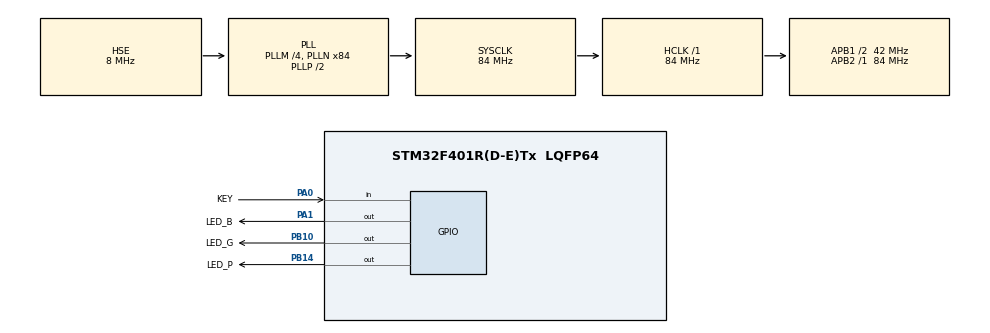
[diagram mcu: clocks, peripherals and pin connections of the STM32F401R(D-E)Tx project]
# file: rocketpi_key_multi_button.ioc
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Mcu.Family=STM32F4
Mcu.Name=STM32F401R(D-E)Tx
Mcu.Package=LQFP64
NVIC.PriorityGroup=NVIC_PRIORITYGROUP_4
PA0-WKUP.GPIO_Label=KEY
PA0-WKUP.Signal=GPIO_Input
PA1.GPIO_Label=LED_B
PA1.PinState=GPIO_PIN_SET
PA1.Signal=GPIO_Output
PA13.GPIO_Label=TMS
PA13.Mode=Serial_Wire
PA13.Signal=SYS_JTMS-SWDIO
PA14.GPIO_Label=TCK
PA14.Mode=Serial_Wire
PA14.Signal=SYS_JTCK-SWCLK
PB10.GPIO_Label=LED_G
PB10.PinState=GPIO_PIN_SET
PB10.Signal=GPIO_Output
PB14.GPIO_Label=LED_P
PB14.PinState=GPIO_PIN_SET
PB14.Signal=GPIO_Output
PH0\ -\ OSC_IN.Mode=HSE-External-Oscillator
PH0\ -\ OSC_IN.Signal=RCC_OSC_IN
PH1\ -\ OSC_OUT.Mode=HSE-External-Oscillator
PH1\ -\ OSC_OUT.Signal=RCC_OSC_OUT
ProjectManager.HeapSize=0x800
ProjectManager.StackSize=0x800
ProjectManager.TargetToolchain=MDK-ARM V5.27
RCC.48MHZClocksFreq_Value=24000000
RCC.AHBFreq_Value=84000000
RCC.APB1CLKDivider=RCC_HCLK_DIV2
RCC.APB1Freq_Value=42000000
RCC.APB1TimFreq_Value=84000000
RCC.APB2Freq_Value=84000000
RCC.APB2TimFreq_Value=84000000
RCC.CortexFreq_Value=84000000
RCC.HCLKFreq_Value=84000000
RCC.HSE_VALUE=8000000
RCC.HSI_VALUE=16000000
RCC.LSE_VALUE=32768
RCC.PLLM=4
RCC.PLLN=84
RCC.PLLQ=7
RCC.PLLSourceVirtual=RCC_PLLSOURCE_HSE
RCC.SYSCLKFreq_VALUE=84000000
RCC.SYSCLKSource=RCC_SYSCLKSOURCE_PLLCLK
RCC.VCOOutputFreq_Value=168000000
board=NUCLEO-F401RE

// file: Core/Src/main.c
/* USER CODE BEGIN Header */
/**
  ******************************************************************************
  * @file           : main.c
  * @brief          : Main program body
  ******************************************************************************
  * @attention
  *
  * Copyright (c) 2025 STMicroelectronics.
  * All rights reserved.
  *
  * This software is licensed under terms that can be found in the LICENSE file
  * in the root directory of this software component.
  * If no LICENSE file comes with this software, it is provided AS-IS.
  *
  ******************************************************************************
  */
/* USER CODE END Header */
#include "main.h"
#include "gpio.h"

/* USER CODE BEGIN Includes */
#include "multi_button.h"

/* USER CODE END Includes */

/* USER CODE BEGIN PD */
#define USER_BUTTON_ACTIVE_LEVEL GPIO_PIN_SET

/* USER CODE END PD */

/* USER CODE BEGIN PV */
static Button g_user_button;

/* USER CODE END PV */

void SystemClock_Config(void);
/* USER CODE BEGIN PFP */
static uint8_t ButtonPinLevel(uint8_t button_id);
static void ButtonSingleClickHandler(Button *btn);
static void ButtonDoubleClickHandler(Button *btn);
static void ButtonLongPressHandler(Button *btn);

/* USER CODE END PFP */

int main(void)
{

  /* MCU Configuration--------------------------------------------------------*/

  /* Reset of all peripherals, Initializes the Flash interface and the Systick. */
  HAL_Init();

  /* Configure the system clock */
  SystemClock_Config();

  /* Initialize all configured peripherals */
  MX_GPIO_Init();
  /* USER CODE BEGIN 2 */
  button_init(&g_user_button, ButtonPinLevel, USER_BUTTON_ACTIVE_LEVEL, 0);
  button_attach(&g_user_button, BTN_SINGLE_CLICK, ButtonSingleClickHandler);
  button_attach(&g_user_button, BTN_DOUBLE_CLICK, ButtonDoubleClickHandler);
  button_attach(&g_user_button, BTN_LONG_PRESS_START, ButtonLongPressHandler);
  button_start(&g_user_button);

  /* USER CODE END 2 */

  /* Infinite loop */
  while (1)
  {

  }
}

void SystemClock_Config(void)
{
  RCC_OscInitTypeDef RCC_OscInitStruct = {0};
  RCC_ClkInitTypeDef RCC_ClkInitStruct = {0};

  /** Configure the main internal regulator output voltage
  */
  __HAL_RCC_PWR_CLK_ENABLE();
  __HAL_PWR_VOLTAGESCALING_CONFIG(PWR_REGULATOR_VOLTAGE_SCALE2);

  /** Initializes the RCC Oscillators according to the specified parameters
  * in the RCC_OscInitTypeDef structure.
  */
  RCC_OscInitStruct.OscillatorType = RCC_OSCILLATORTYPE_HSE;
  RCC_OscInitStruct.HSEState = RCC_HSE_ON;
  RCC_OscInitStruct.PLL.PLLState = RCC_PLL_ON;
  RCC_OscInitStruct.PLL.PLLSource = RCC_PLLSOURCE_HSE;
  RCC_OscInitStruct.PLL.PLLM = 4;
  RCC_OscInitStruct.PLL.PLLN = 84;
  RCC_OscInitStruct.PLL.PLLP = RCC_PLLP_DIV2;
  RCC_OscInitStruct.PLL.PLLQ = 7;
  if (HAL_RCC_OscConfig(&RCC_OscInitStruct) != HAL_OK)
  {
    Error_Handler();
  }

  /** Initializes the CPU, AHB and APB buses clocks
  */
  RCC_ClkInitStruct.ClockType = RCC_CLOCKTYPE_HCLK|RCC_CLOCKTYPE_SYSCLK
                              |RCC_CLOCKTYPE_PCLK1|RCC_CLOCKTYPE_PCLK2;
  RCC_ClkInitStruct.SYSCLKSource = RCC_SYSCLKSOURCE_PLLCLK;
  RCC_ClkInitStruct.AHBCLKDivider = RCC_SYSCLK_DIV1;
  RCC_ClkInitStruct.APB1CLKDivider = RCC_HCLK_DIV2;
  RCC_ClkInitStruct.APB2CLKDivider = RCC_HCLK_DIV1;

  if (HAL_RCC_ClockConfig(&RCC_ClkInitStruct, FLASH_LATENCY_2) != HAL_OK)
  {
    Error_Handler();
  }
}

/* USER CODE BEGIN 4 */
static uint8_t ButtonPinLevel(uint8_t button_id)
{
  (void)button_id;
  return (uint8_t)HAL_GPIO_ReadPin(KEY_GPIO_Port, KEY_Pin);
}

static void ButtonSingleClickHandler(Button *btn)
{
  (void)btn;
  HAL_GPIO_TogglePin(LED_B_GPIO_Port, LED_B_Pin);
}

static void ButtonDoubleClickHandler(Button *btn)
{
  (void)btn;
  HAL_GPIO_TogglePin(LED_G_GPIO_Port, LED_G_Pin);
}

static void ButtonLongPressHandler(Button *btn)
{
  (void)btn;
  HAL_GPIO_TogglePin(LED_P_GPIO_Port, LED_P_Pin);
}

/* USER CODE END 4 */

void Error_Handler(void)
{
  __disable_irq();
  while (1)
  {
  }
}
